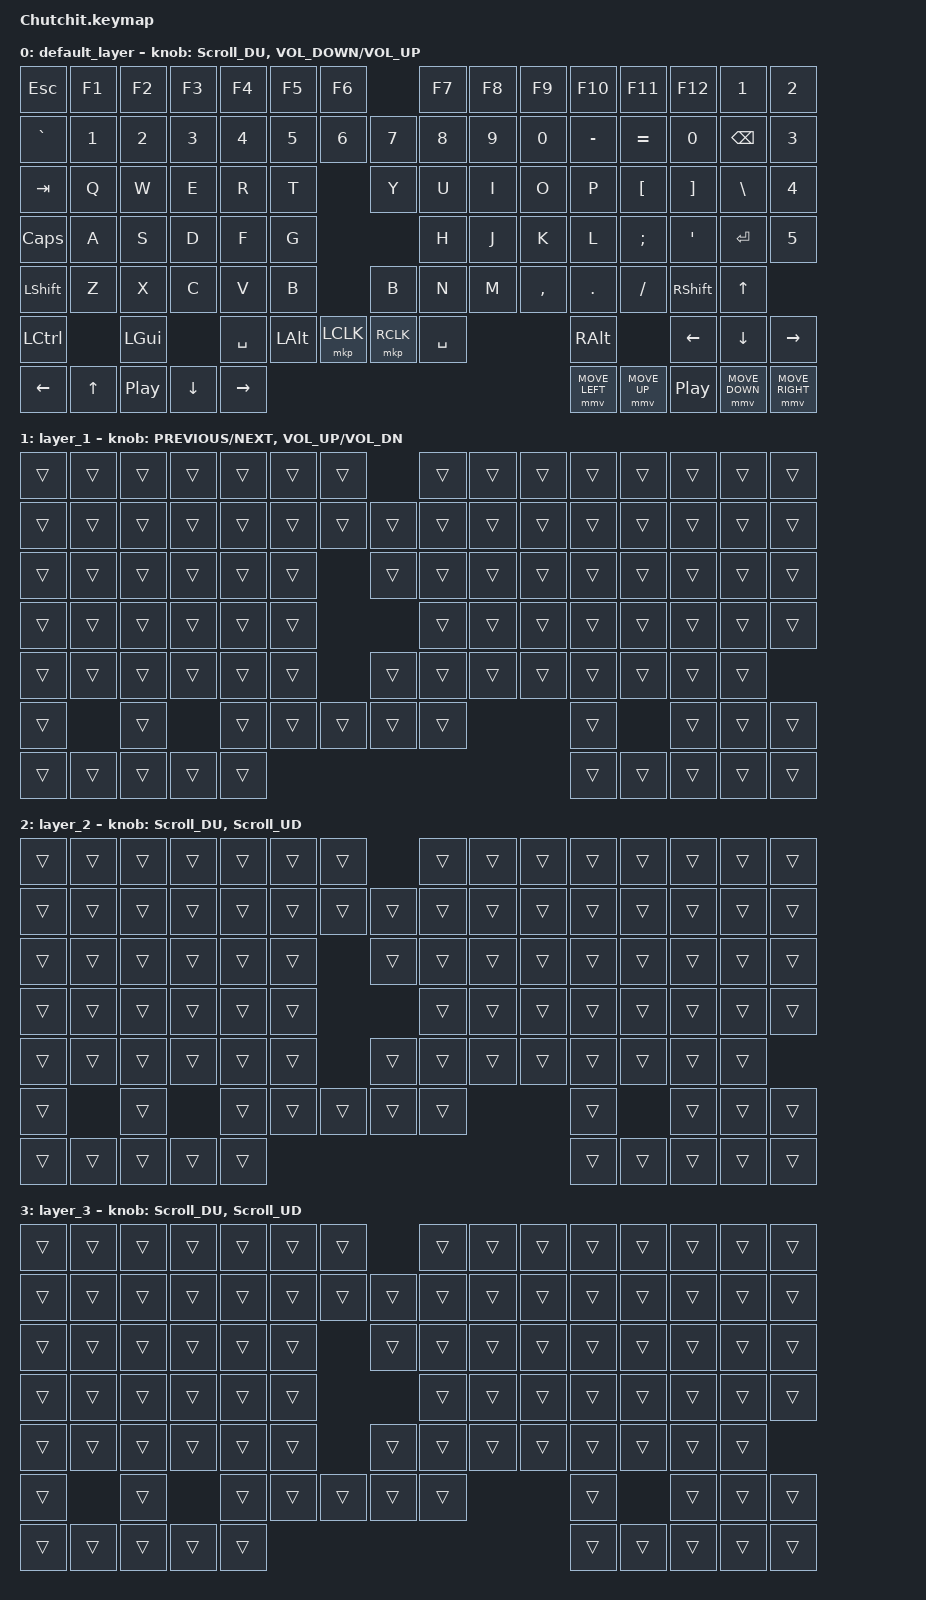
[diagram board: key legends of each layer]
/*
 * Copyright (c) 2020 The ZMK Contributors
 *
 * SPDX-License-Identifier: MIT
 */

#include <input/processors.dtsi>
#include <zephyr/dt-bindings/input/input-event-codes.h>
#include <dt-bindings/zmk/mouse.h>
#include <behaviors/mouse_keys.dtsi>
#include <behaviors.dtsi>
#include <dt-bindings/zmk/bt.h>
#include <dt-bindings/zmk/keys.h>
#include <dt-bindings/zmk/pointing.h>

#define DEFAULT 0
#define LOWER  1
#define RAISE  2
#define ADJUST 3
#define FUNCTION 4

/* NOTE: At the time of the creation of this keymap, there are no specified codes for 'eisuu' and 'kana' input in ZMK.
However, 'LANG1' and 'LANG2' are fully-functioning candidates for 'kana' and 'eisuu' input respectively.
As such, those are in use within the default layer at this time.*/

&mmv_input_listener { input-processors = <&zip_xy_scaler 2 1>; };

&msc_input_listener { input-processors = <&zip_scroll_scaler 2 1>; };

&msc {
    acceleration-exponent = <1>;      // 0
    time-to-max-speed-ms = <100>;       // 300
    delay-ms = <0>;                   // 0
};

&mmv {
    time-to-max-speed-ms = <500>;
    acceleration-exponent = <1>;
    trigger-period-ms = <16>;
};

&soft_off {
    hold-time-ms = <3000>; // Only turn off it the key is held for 3 seconds or longer.
};

&mt {
    tapping-term-ms = <300>;
    flavor = "balanced";
};

&lt { tapping-term-ms = <300>; };

#define ZMK_POINTING_DEFAULT_MOVE_VAL 1200  // 600
#define ZMK_POINTING_DEFAULT_SCRL_VAL 900   // mousescroll SPEED

/ {
    behaviors {
        Scroll_DU: Scroll_DU {
            compatible = "zmk,behavior-sensor-rotate";
            label = "SCROLL_DU";
            #sensor-binding-cells = <0>;
            bindings = <&msc SCRL_DOWN>, <&msc SCRL_UP>;

            tap-ms = <20>;
        };

        Scroll_UD: Scroll_UD {
            compatible = "zmk,behavior-sensor-rotate";
            label = "SCROLL_UD";
            #sensor-binding-cells = <0>;
            bindings = <&msc SCRL_UP>, <&msc SCRL_DOWN>;

            tap-ms = <20>;
        };

        Scroll_RL: Scroll_RL {
            compatible = "zmk,behavior-sensor-rotate";
            label = "SCROLL_RL";
            #sensor-binding-cells = <0>;
            bindings = <&msc SCRL_RIGHT>, <&msc SCRL_LEFT>;

            tap-ms = <20>;
        };

        Scroll_LR: Scroll_LR {
            compatible = "zmk,behavior-sensor-rotate";
            label = "SCROLL_LR";
            #sensor-binding-cells = <0>;
            bindings = <&msc SCRL_LEFT>, <&msc SCRL_RIGHT>;

            tap-ms = <20>;
        };

        Td_01: Td_01 {
            compatible = "zmk,behavior-tap-dance";
            label = "TD_01";
            #binding-cells = <0>;
            bindings = <&kp EQUAL>, <&kp ASTRK>, <&kp SLASH>, <&kp PAUSE_BREAK>;
        };
    };

    combos {
        compatible = "zmk,combos";

        BT-del-all {
            bindings = <&bt BT_CLR_ALL>;
            key-positions = <6 7>;
            layers = <1>;
        };

        lpar {
            bindings = <&kp LPAR>;
            key-positions = <31 32>;
            layers = <0>;
        };

        rpar {
            bindings = <&kp RPAR>;
            key-positions = <32 33>;
            layers = <0>;
        };
    };

    keymap {
        compatible = "zmk,keymap";

        default_layer {
            bindings = <
&kp ESC    &kp F1  &kp F2            &kp F3    &kp F4     &kp F5    &kp F6                &kp F7     &kp F8  &kp F9     &kp F10         &kp F11       &kp F12    &kp N1          &kp N2
&kp GRAVE  &kp N1  &kp N2            &kp N3    &kp N4     &kp N5    &kp N6     &kp N7     &kp N8     &kp N9  &kp N0     &kp MINUS       &kp EQUAL     &kp N0     &kp BSPC        &kp N3
&kp TAB    &kp Q   &kp W             &kp E     &kp R      &kp T                &kp Y      &kp U      &kp I   &kp O      &kp P           &kp LBKT      &kp RBKT   &kp BSLH        &kp N4
&kp CAPS   &kp A   &kp S             &kp D     &kp F      &kp G                           &kp H      &kp J   &kp K      &kp L           &kp SEMI      &kp APOS   &kp ENTER       &kp N5
&kp LSHFT  &kp Z   &kp X             &kp C     &kp V      &kp B                &kp B      &kp N      &kp M   &kp COMMA  &kp DOT         &kp FSLH      &kp RSHFT  &kp UP
&kp LCTRL          &kp LGUI                    &kp SPACE  &kp LALT  &mkp LCLK  &mkp RCLK  &kp SPACE                     &kp RALT                      &kp LEFT   &kp DOWN        &kp RIGHT
&kp LEFT   &kp UP  &kp C_PLAY_PAUSE  &kp DOWN  &kp RIGHT                                                                &mmv MOVE_LEFT  &mmv MOVE_UP  &kp C_PP   &mmv MOVE_DOWN  &mmv MOVE_RIGHT
            >;

            sensor-bindings =
                <&Scroll_DU>,
                <&inc_dec_kp C_VOLUME_DOWN C_VOLUME_UP>;
        };

        layer_1 {
            bindings = <
&trans  &trans  &trans  &trans  &trans  &trans  &trans          &trans  &trans  &trans  &trans  &trans  &trans  &trans  &trans
&trans  &trans  &trans  &trans  &trans  &trans  &trans  &trans  &trans  &trans  &trans  &trans  &trans  &trans  &trans  &trans
&trans  &trans  &trans  &trans  &trans  &trans          &trans  &trans  &trans  &trans  &trans  &trans  &trans  &trans  &trans
&trans  &trans  &trans  &trans  &trans  &trans                  &trans  &trans  &trans  &trans  &trans  &trans  &trans  &trans
&trans  &trans  &trans  &trans  &trans  &trans          &trans  &trans  &trans  &trans  &trans  &trans  &trans  &trans
&trans          &trans          &trans  &trans  &trans  &trans  &trans                  &trans          &trans  &trans  &trans
&trans  &trans  &trans  &trans  &trans                                                  &trans  &trans  &trans  &trans  &trans
            >;

            sensor-bindings =
                <&inc_dec_kp C_PREVIOUS C_NEXT>,
                <&inc_dec_kp C_VOLUME_UP C_VOL_DN>;
        };

        layer_2 {
            bindings = <
&trans  &trans  &trans  &trans  &trans  &trans  &trans          &trans  &trans  &trans  &trans  &trans  &trans  &trans  &trans
&trans  &trans  &trans  &trans  &trans  &trans  &trans  &trans  &trans  &trans  &trans  &trans  &trans  &trans  &trans  &trans
&trans  &trans  &trans  &trans  &trans  &trans          &trans  &trans  &trans  &trans  &trans  &trans  &trans  &trans  &trans
&trans  &trans  &trans  &trans  &trans  &trans                  &trans  &trans  &trans  &trans  &trans  &trans  &trans  &trans
&trans  &trans  &trans  &trans  &trans  &trans          &trans  &trans  &trans  &trans  &trans  &trans  &trans  &trans
&trans          &trans          &trans  &trans  &trans  &trans  &trans                  &trans          &trans  &trans  &trans
&trans  &trans  &trans  &trans  &trans                                                  &trans  &trans  &trans  &trans  &trans
            >;

            sensor-bindings = <&Scroll_DU>, <&Scroll_UD>;
        };

        layer_3 {
            bindings = <
&trans  &trans  &trans  &trans  &trans  &trans  &trans          &trans  &trans  &trans  &trans  &trans  &trans  &trans  &trans
&trans  &trans  &trans  &trans  &trans  &trans  &trans  &trans  &trans  &trans  &trans  &trans  &trans  &trans  &trans  &trans
&trans  &trans  &trans  &trans  &trans  &trans          &trans  &trans  &trans  &trans  &trans  &trans  &trans  &trans  &trans
&trans  &trans  &trans  &trans  &trans  &trans                  &trans  &trans  &trans  &trans  &trans  &trans  &trans  &trans
&trans  &trans  &trans  &trans  &trans  &trans          &trans  &trans  &trans  &trans  &trans  &trans  &trans  &trans
&trans          &trans          &trans  &trans  &trans  &trans  &trans                  &trans          &trans  &trans  &trans
&trans  &trans  &trans  &trans  &trans                                                  &trans  &trans  &trans  &trans  &trans
            >;

            sensor-bindings = <&Scroll_DU>, <&Scroll_UD>;
        };
    };
};
